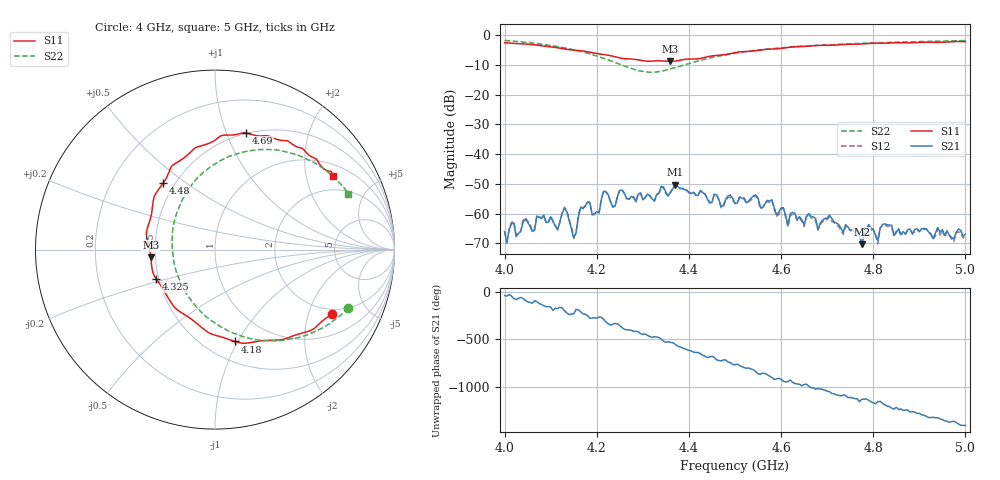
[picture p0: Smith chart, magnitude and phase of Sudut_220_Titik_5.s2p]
# Hz S RI R 50
! CMT, C1220, 16058040, 17.2.0/1
! Date: 15/08/2018 12:22:14
! Data: Format (Calibration Info)
! Freq  S11: Re/Im (F2)  S21: Re/Im (F2)  S12: Re/Im (F2)  S22: Re/Im (F2)
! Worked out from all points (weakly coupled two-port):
!   201 points, 4 GHz to 5 GHz, reference 50 ohm
!   highest |S21| = -50.25 dB at 4.37 GHz (marker M1); lowest = -70.4 dB at 4.775 GHz (marker M2)
!   lowest |S11| = -8.9 dB at 4.36 GHz (marker M3), VSWR 2.13, Z = 23.6 - j2.27 ohm
!   |S11| at or under -10 dB: nowhere
!   |S22| runs from -12.5 to -1.8 dB; largest |S21 - S12| = 0.00017
!   S11 on the Smith chart (normalised r, x): 4 GHz: 1.80, -2.88; 4.18 GHz: 0.69, -0.97; 4.325 GHz: 0.48, -0.18; 4.48 GHz: 0.43, +0.41; 4.69 GHz: 0.50, +1.18; 5 GHz: 1.39, +2.88
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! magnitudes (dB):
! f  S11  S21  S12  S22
! 4 GHz  -2.6  -66.1  -66.0  -1.8
! 4.085 GHz  -3.7  -60.6  -60.7  -3.1
! 4.115 GHz  -4.3  -65.6  -65.1  -3.9
! 4.13 GHz  -4.7  -58.2  -57.9  -4.3
! 4.15 GHz  -5.1  -68.4  -67.7  -4.9
! 4.17 GHz  -5.4  -58.4  -58.0  -5.7
! 4.18 GHz  -5.6  -56.1  -56.2  -6.1
! 4.19 GHz  -5.9  -60.3  -60.5  -6.6
! 4.325 GHz  -8.7  -55.8  -55.9  -12.5
! 4.335 GHz  -8.7  -53.0  -53.3  -12.3
! 4.36 GHz  -8.9  -52.7  -53.0  -11.4
! 4.37 GHz  -8.8  -50.3  -50.2  -11.0
! 4.48 GHz  -6.6  -55.1  -55.6  -6.6
! 4.5 GHz  -5.9  -56.5  -56.7  -6.1
! 4.67 GHz  -3.6  -61.2  -61.9  -3.5
! 4.69 GHz  -3.4  -62.2  -62.8  -3.4
! 4.765 GHz  -3.1  -65.3  -65.1  -2.9
! 4.775 GHz  -3.0  -70.4  -71.0  -2.8
! 4.79 GHz  -2.8  -63.7  -64.0  -2.7
! 4.81 GHz  -2.7  -69.1  -70.3  -2.6
! 4.835 GHz  -2.7  -63.9  -64.3  -2.5
! 5 GHz  -2.2  -66.9  -67.5  -1.9
